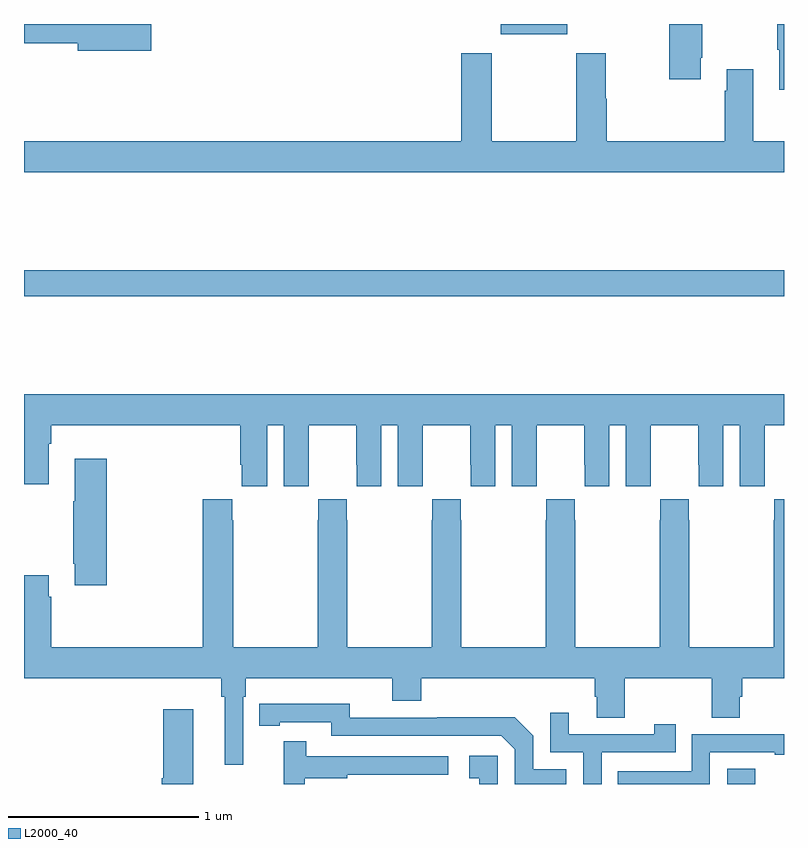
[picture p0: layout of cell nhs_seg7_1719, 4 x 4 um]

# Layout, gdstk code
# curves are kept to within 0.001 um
import gdstk
lib = gdstk.Library(unit=1e-6, precision=1e-09)
def R(c, l, rs):  # rectangles x0, y0, x1, y1
    for r in rs: c.add(gdstk.rectangle(r[:2], r[2:], *l))
def P(c, l, *ps):  # polygons
    for p in ps: c.add(gdstk.Polygon(p, *l))
L2000_40 = (2000, 40)

nhs_seg7_1719 = lib.new_cell('nhs_seg7_1719')
R(nhs_seg7_1719, L2000_40, [(230.7,1060,230.848,1060.081), (227,1062.568,231,1062.704), (229.508,1063.946,229.858,1064)])
P(nhs_seg7_1719, L2000_40, [(230.563,1063.822),(230.571,1063.822),(230.571,1064),(230.396,1064),(230.396,1063.71),(230.563,1063.71)],
  [(231,1064),(230.964,1064),(230.964,1063.865),(230.975,1063.865),(230.975,1063.653),(231,1063.653)],
  [(227.671,1064),(227,1064),(227,1063.9),(227.282,1063.9),(227.282,1063.858),(227.671,1063.858)],
  [(231,1063.384),(230.839,1063.384),(230.839,1063.762),(230.699,1063.762),(230.699,1063.649),(230.687,1063.649),(230.687,1063.384),(230.066,1063.384),(230.066,1063.607),(230.061,1063.607),(230.061,1063.846),(229.906,1063.846),(229.906,1063.384),(229.461,1063.384),(229.461,1063.846),(229.301,1063.846),(229.301,1063.384),(227,1063.384),(227,1063.22),(231,1063.22)],
  [(228.28,1061.888),(228.368,1061.888),(228.368,1061.568),(228.498,1061.568),(228.498,1061.68),(228.499,1061.68),(228.499,1061.888),(228.749,1061.888),(228.749,1061.68),(228.75,1061.68),(228.75,1061.568),(228.88,1061.568),(228.88,1061.888),(228.968,1061.888),(228.968,1061.568),(229.098,1061.568),(229.098,1061.68),(229.099,1061.68),(229.099,1061.888),(229.349,1061.888),(229.349,1061.68),(229.35,1061.68),(229.35,1061.568),(229.48,1061.568),(229.48,1061.888),(229.568,1061.888),(229.568,1061.568),(229.698,1061.568),(229.698,1061.68),(229.699,1061.68),(229.699,1061.888),(229.949,1061.888),(229.949,1061.68),(229.95,1061.68),(229.95,1061.568),(230.08,1061.568),(230.08,1061.888),(230.168,1061.888),(230.168,1061.568),(230.298,1061.568),(230.298,1061.68),(230.299,1061.68),(230.299,1061.888),(230.549,1061.888),(230.549,1061.68),(230.55,1061.68),(230.55,1061.568),(230.68,1061.568),(230.68,1061.888),(230.768,1061.888),(230.768,1061.568),(230.898,1061.568),(230.898,1061.68),(230.899,1061.68),(230.899,1061.888),(231,1061.888),(231,1062.052),(227,1062.052),(227,1061.577),(227.131,1061.577),(227.131,1061.792),(227.144,1061.792),(227.144,1061.888),(228.137,1061.888),(228.137,1061.68),(228.146,1061.68),(228.146,1061.568),(228.28,1061.568)],
  [(227.435,1061.713),(227.267,1061.713),(227.267,1061.489),(227.26,1061.489),(227.26,1061.158),(227.267,1061.158),(227.267,1061.046),(227.435,1061.046)],
  [(229.149,1061.5),(229.149,1061.387),(229.147,1061.387),(229.147,1060.72),(228.702,1060.72),(228.702,1061.387),(228.699,1061.387),(228.699,1061.5),(228.549,1061.5),(228.549,1061.387),(228.547,1061.387),(228.547,1060.72),(228.102,1060.72),(228.102,1061.387),(228.095,1061.387),(228.095,1061.5),(227.942,1061.5),(227.942,1060.72),(227.144,1060.72),(227.144,1060.985),(227.131,1060.985),(227.131,1061.098),(227,1061.098),(227,1060.556),(228.037,1060.556),(228.037,1060.46),(228.056,1060.46),(228.056,1060.101),(228.153,1060.101),(228.153,1060.46),(228.167,1060.46),(228.167,1060.556),(228.938,1060.556),(228.938,1060.439),(229.091,1060.439),(229.091,1060.556),(230.003,1060.556),(230.003,1060.458),(230.015,1060.458),(230.015,1060.348),(230.163,1060.348),(230.163,1060.556),(230.62,1060.556),(230.62,1060.348),(230.767,1060.348),(230.767,1060.458),(230.78,1060.458),(230.78,1060.556),(231,1060.556),(231,1061.5),(230.949,1061.5),(230.949,1061.387),(230.947,1061.387),(230.947,1060.72),(230.502,1060.72),(230.502,1061.387),(230.499,1061.387),(230.499,1061.5),(230.349,1061.5),(230.349,1061.387),(230.347,1061.387),(230.347,1060.72),(229.902,1060.72),(229.902,1061.387),(229.899,1061.387),(229.899,1061.5),(229.749,1061.5),(229.749,1061.387),(229.747,1061.387),(229.747,1060.72),(229.302,1060.72),(229.302,1061.387),(229.299,1061.387),(229.299,1061.5)],
  [(229.854,1060.077),(229.68,1060.077),(229.68,1060.254),(229.582,1060.352),(229.174,1060.352),(229.174,1060.35),(228.714,1060.35),(228.714,1060.423),(228.238,1060.422),(228.238,1060.306),(228.346,1060.306),(228.346,1060.326),(228.618,1060.326),(228.618,1060.254),(229.512,1060.254),(229.584,1060.182),(229.584,1060),(229.854,1060)],
  [(227.89,1060.393),(227.732,1060.393),(227.732,1060.029),(227.726,1060.029),(227.726,1060),(227.89,1060)],
  [(230.04,1060.167),(230.429,1060.167),(230.429,1060.315),(230.318,1060.315),(230.318,1060.263),(229.867,1060.263),(229.867,1060.375),(229.77,1060.375),(229.77,1060.167),(229.944,1060.167),(229.944,1060),(230.04,1060)],
  [(230.61,1060.167),(230.951,1060.167),(230.951,1060.155),(231,1060.155),(231,1060.263),(230.514,1060.263),(230.514,1060.068),(230.125,1060.068),(230.125,1060),(230.61,1060)],
  [(228.478,1060.03),(228.701,1060.03),(228.701,1060.05),(229.234,1060.05),(229.234,1060.146),(228.485,1060.146),(228.485,1060.225),(228.368,1060.225),(228.368,1060),(228.478,1060)],
  [(229.494,1060.15),(229.344,1060.15),(229.344,1060.029),(229.397,1060.029),(229.397,1060),(229.494,1060)])

lib.write_gds('nhs_seg7_1719.gds')
